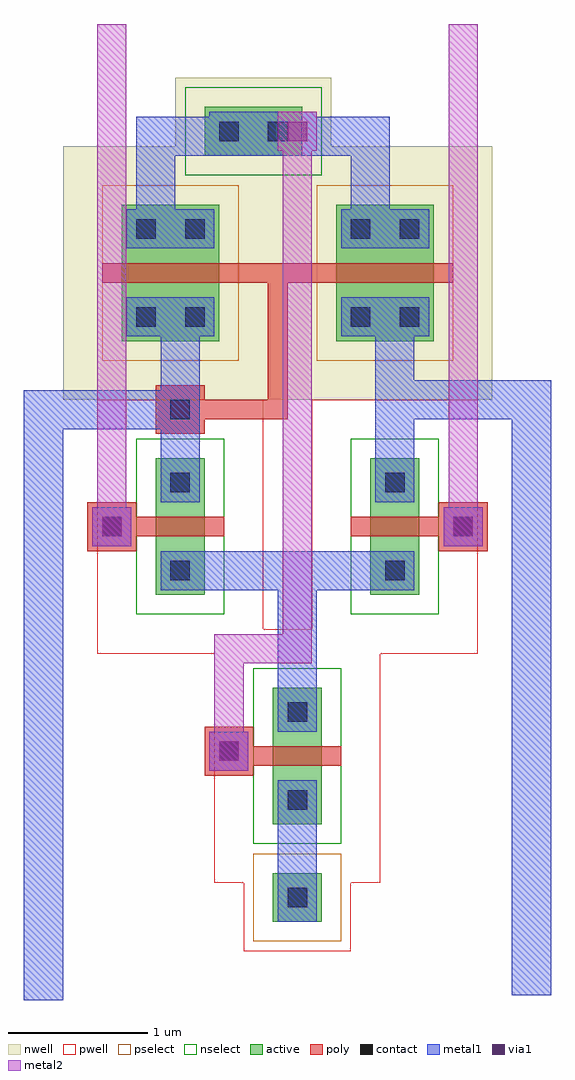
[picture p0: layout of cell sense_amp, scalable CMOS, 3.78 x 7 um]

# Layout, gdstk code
import gdstk
lib = gdstk.Library(unit=1e-6, precision=1e-09)
def R(c, l, rs):  # rectangles x0, y0, x1, y1
    for r in rs: c.add(gdstk.rectangle(r[:2], r[2:], *l))
contact = (25, 0)
pwell = (41, 0)
nwell = (42, 0)
active = (43, 0)
pselect = (44, 0)
nselect = (45, 0)
poly = (46, 0)
metal1 = (49, 0)
via1 = (50, 0)
metal2 = (51, 0)

sense_amp = lib.new_cell('sense_amp')
R(sense_amp, contact, [(0.07,-4.235,0.21,-4.095), (0.07,-3.535,0.21,-3.395), (-0.42,-3.185,-0.28,-3.045), (0.07,-2.905,0.21,-2.765), (-0.77,-1.89,-0.63,-1.75), (0.77,-1.89,0.91,-1.75), (-1.26,-1.575,-1.12,-1.435), (1.26,-1.575,1.4,-1.435), (-0.77,-1.26,-0.63,-1.12), (0.77,-1.26,0.91,-1.12), (-0.77,-0.735,-0.63,-0.595), (-1.015,-0.07,-0.875,0.07), (-0.665,-0.07,-0.525,0.07), (0.525,-0.07,0.665,0.07), (0.875,-0.07,1.015,0.07), (-1.015,0.56,-0.875,0.7), (-0.665,0.56,-0.525,0.7), (0.525,0.56,0.665,0.7), (0.875,0.56,1.015,0.7), (-0.42,1.26,-0.28,1.4), (-0.07,1.26,0.07,1.4)])
R(sense_amp, pwell, [(-0.245,-4.55,0.525,-3.78), (-0.455,-4.06,0.735,-2.87), (-0.385,-3.99,0.665,-2.887), (-0.455,-3.85,0.735,-2.45), (-0.455,-3.43,0.735,-2.24), (-0.385,-3.412,0.665,-2.31), (-1.295,-2.415,-0.105,-1.225), (0.245,-2.415,1.435,-1.225), (-1.225,-2.31,-0.175,-1.242), (0.315,-2.31,1.365,-1.242), (-1.295,-2.205,-0.105,-0.805), (0.245,-2.205,1.435,-0.805), (-1.295,-1.785,-0.105,-0.595), (0.245,-1.785,1.435,-0.595), (-1.225,-1.767,-0.175,-0.665), (0.315,-1.767,1.365,-0.665)])
R(sense_amp, nwell, [(-1.54,-0.595,0,0.595), (0,-0.595,1.54,0.595), (-1.295,-0.525,-0.245,0.578), (0.245,-0.525,1.295,0.578), (-1.54,-0.385,0,1.015), (0,-0.385,1.54,1.015), (-1.54,0.035,0,1.225), (0,0.035,1.54,1.225), (-1.295,0.053,-0.245,1.155), (0.245,0.053,1.295,1.155), (-0.735,0.945,0.385,1.715)])
R(sense_amp, active, [(-0.035,-4.34,0.315,-3.99), (-0.035,-3.64,0.315,-3.29), (0.035,-3.57,0.245,-3.307), (-0.035,-3.43,0.315,-2.87), (-0.035,-3.01,0.315,-2.66), (0.035,-2.992,0.245,-2.73), (-0.875,-1.995,-0.525,-1.645), (0.665,-1.995,1.015,-1.645), (-0.805,-1.89,-0.595,-1.662), (0.735,-1.89,0.945,-1.662), (-0.875,-1.785,-0.525,-1.225), (0.665,-1.785,1.015,-1.225), (-0.875,-1.365,-0.525,-1.015), (0.665,-1.365,1.015,-1.015), (-0.805,-1.347,-0.595,-1.085), (0.735,-1.347,0.945,-1.085), (-1.12,-0.175,-0.42,0.175), (0.42,-0.175,1.12,0.175), (-0.875,-0.105,-0.665,0.158), (0.665,-0.105,0.875,0.158), (-1.12,0.035,-0.42,0.595), (0.42,0.035,1.12,0.595), (-1.12,0.455,-0.42,0.805), (0.42,0.455,1.12,0.805), (-0.875,0.473,-0.665,0.735), (0.665,0.473,0.875,0.735), (-0.525,1.155,0.175,1.505)])
R(sense_amp, pselect, [(-0.175,-4.48,0.455,-3.85), (-1.26,-0.315,-0.28,0.315), (0.28,-0.315,1.26,0.315), (-1.015,-0.245,-0.525,0.298), (0.525,-0.245,1.015,0.298), (-1.26,-0.105,-0.28,0.735), (0.28,-0.105,1.26,0.735), (-1.26,0.315,-0.28,0.945), (0.28,0.315,1.26,0.945), (-1.015,0.333,-0.525,0.875), (0.525,0.333,1.015,0.875)])
R(sense_amp, nselect, [(-0.175,-3.78,0.455,-3.15), (-0.105,-3.71,0.385,-3.167), (-0.175,-3.57,0.455,-2.73), (-0.175,-3.15,0.455,-2.52), (-0.105,-3.132,0.385,-2.59), (-1.015,-2.135,-0.385,-1.505), (0.525,-2.135,1.155,-1.505), (-0.945,-2.03,-0.455,-1.522), (0.595,-2.03,1.085,-1.522), (-1.015,-1.925,-0.385,-1.085), (0.525,-1.925,1.155,-1.085), (-1.015,-1.505,-0.385,-0.875), (0.525,-1.505,1.155,-0.875), (-0.945,-1.487,-0.455,-0.945), (0.595,-1.487,1.085,-0.945), (-0.665,1.015,0.315,1.645)])
R(sense_amp, poly, [(-0.525,-3.29,-0.175,-2.94), (-0.385,-3.22,-0.105,-3.08), (-0.175,-3.22,0.455,-3.08), (-1.365,-1.68,-1.015,-1.33), (1.155,-1.68,1.505,-1.33), (-1.26,-1.575,-0.945,-1.435), (-1.015,-1.575,-0.385,-1.435), (0.525,-1.575,1.155,-1.435), (1.085,-1.575,1.4,-1.435), (-0.875,-0.84,-0.525,-0.49), (-0.77,-0.735,0.07,-0.595), (-0.07,-0.735,0.07,0.385), (-1.26,0.245,-0.28,0.385), (-0.35,0.245,0.07,0.385), (-0.07,0.245,0.35,0.385), (0.28,0.245,1.26,0.385)])
R(sense_amp, metal1, [(-1.82,-4.9,-1.54,-0.525), (1.68,-4.865,1.96,-0.455), (0,-4.34,0.28,-3.325), (0,-4.305,0.28,-4.025), (0,-3.605,0.28,-3.325), (-0.49,-3.255,-0.21,-2.975), (-0.49,-3.255,-0.21,-2.975), (-0.42,-3.22,-0.21,-2.975), (0,-2.975,0.28,-2.695), (0,-2.975,0.28,-1.68), (-0.84,-1.96,-0.56,-1.68), (-0.84,-1.96,0.28,-1.68), (0,-1.96,0.98,-1.68), (0.7,-1.96,0.98,-1.68), (-1.33,-1.645,-1.05,-1.365), (-1.33,-1.645,-1.05,-1.365), (1.19,-1.645,1.47,-1.365), (1.19,-1.645,1.47,-1.365), (-1.295,-1.61,-1.085,-1.4), (1.225,-1.61,1.435,-1.4), (-0.84,-1.33,-0.56,-1.05), (-0.84,-1.33,-0.56,-0.525), (0.7,-1.33,0.98,-1.05), (0.7,-1.33,0.98,-0.455), (-1.82,-0.805,-0.56,-0.525), (-0.84,-0.805,-0.56,-0.525), (-0.84,-0.805,-0.56,0.14), (0.7,-0.735,0.98,0.14), (0.7,-0.735,1.96,-0.455), (-1.085,-0.14,-0.455,0.14), (0.455,-0.14,1.085,0.14), (-1.085,0.49,-0.455,0.77), (-1.015,0.49,-0.735,1.435), (0.455,0.49,1.085,0.77), (0.525,0.49,0.805,1.435), (-1.015,1.155,-0.105,1.435), (-0.385,1.155,0.805,1.435), (-0.49,1.19,0.14,1.47), (-0.315,1.19,0.28,1.47), (0,1.19,0.28,1.47)])
R(sense_amp, via1, [(-0.42,-3.185,-0.28,-3.045), (-1.26,-1.575,-1.12,-1.435), (1.26,-1.575,1.4,-1.435), (0.07,1.26,0.21,1.4)])
R(sense_amp, metal2, [(-0.49,-3.255,-0.21,-2.975), (-0.455,-3.22,-0.245,-2.275), (-0.35,-2.485,-0.14,-2.275), (-0.35,-2.485,0.245,-2.275), (0.035,-2.485,0.245,1.435), (-1.33,-1.645,-1.05,-1.365), (1.19,-1.645,1.47,-1.365), (-1.295,-1.61,-1.085,1.68), (1.225,-1.61,1.435,1.68), (-1.26,-1.575,-1.12,1.645), (0,1.19,0.28,1.47), (-1.295,1.47,-1.085,1.68), (-1.295,1.47,-1.085,2.1), (1.225,1.47,1.435,1.68), (1.225,1.47,1.435,2.1)])

lib.write_gds('sense_amp.gds')
